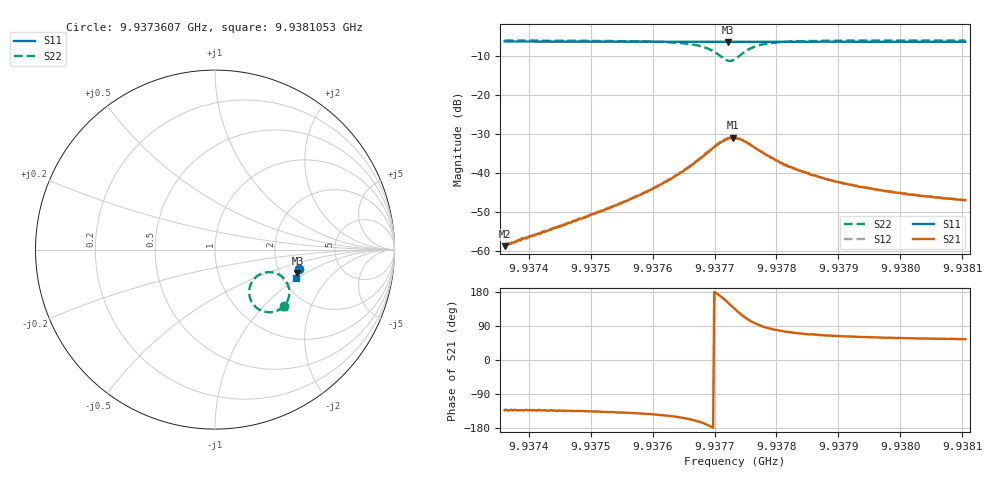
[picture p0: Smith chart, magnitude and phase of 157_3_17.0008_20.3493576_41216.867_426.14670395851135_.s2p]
#  HZ  S  RI  R  50.00
! Rohde & Schwarz Vector Network Analyzer
! Rohde-Schwarz,ZNB20-2Port,1311601062101988,3.16
! Created: UTC 3/20/2024, 10:59:06 PM
! freq[Hz]  re:S11  im:S11  re:S21  im:S21  re:S12  im:S12  re:S22  im:S22
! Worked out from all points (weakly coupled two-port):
!   401 points, 9.9373607 GHz to 9.9381053 GHz, reference 50 ohm
!   highest |S21| = -31.00 dB at 9.9377293 GHz (marker M1); lowest = -58.8 dB at 9.9373607 GHz (marker M2)
!   lowest |S11| = -6.4 dB at 9.9377218 GHz (marker M3), VSWR 2.83, Z = 124 - j42.9 ohm
!   |S11| at or under -10 dB: nowhere
!   |S22| runs from -11.3 to -6.0 dB; largest |S21 - S12| = 0.0014
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9.93736068e9  0.4704 -0.1103  -0.000776 -0.000851  -0.000792 -0.00089  0.3846 -0.3151
9.93737557e9  0.4701 -0.1113  -0.000849 -0.000951  -0.000868 -0.000955  0.383 -0.3164
9.93739605e9  0.4696 -0.1126  -0.000962 -0.00108  -0.00102 -0.0011  0.3808 -0.3181
9.93748541e9  0.4677 -0.1189  -0.00184 -0.00185  -0.00188 -0.00186  0.3689 -0.3276
9.93755429e9  0.4661 -0.1235  -0.00322 -0.0028  -0.00331 -0.00279  0.3534 -0.3368
9.93761014e9  0.4646 -0.1273  -0.00564 -0.00398  -0.00581 -0.00398  0.33 -0.3458
9.93764551e9  0.4635 -0.1299  -0.00888 -0.00474  -0.00916 -0.00469  0.3008 -0.3491
9.93768274e9  0.4618 -0.1325  -0.0162 -0.00376  -0.0168 -0.00337  0.2411 -0.3312
9.93769577e9  0.4609 -0.1329  -0.0203 -0.00104  -0.0208 -0.000501  0.2124 -0.3041
9.93770694e9  0.4602 -0.1331  -0.0235 0.0036  -0.024 0.00439  0.1932 -0.2622
9.93772183e9  0.4595 -0.133  -0.0241 0.0133  -0.0241 0.0145  0.2037 -0.184
9.93772928e9  0.4596 -0.1329  -0.0215 0.0182  -0.0212 0.0193  0.2325 -0.1498
9.937733e9  0.4597 -0.133  -0.0196 0.0199  -0.0191 0.0212  0.2514 -0.1377
9.93774231e9  0.4602 -0.133  -0.0139 0.0229  -0.013 0.0236  0.3015 -0.1255
9.93775534e9  0.4607 -0.1337  -0.00632 0.0227  -0.00567 0.0232  0.3579 -0.1402
9.93777582e9  0.4611 -0.1354  6.8e-05 0.0186  0.000541 0.0185  0.4004 -0.1834
9.93781119e9  0.4607 -0.1384  0.00318 0.0125  0.00352 0.0126  0.4145 -0.2363
9.93785773e9  0.4598 -0.1418  0.0036 0.00876  0.00373 0.00863  0.4096 -0.2703
9.93791544e9  0.4583 -0.1458  0.00338 0.00632  0.00351 0.00629  0.4014 -0.2911
9.93798246e9  0.4565 -0.1503  0.00301 0.00491  0.00312 0.00492  0.3934 -0.3048
9.93804016e9  0.4552 -0.154  0.00276 0.00419  0.00286 0.00418  0.3878 -0.3129
9.93810532e9  0.4535 -0.1583  0.00255 0.00367  0.00264 0.00365  0.3823 -0.3201
